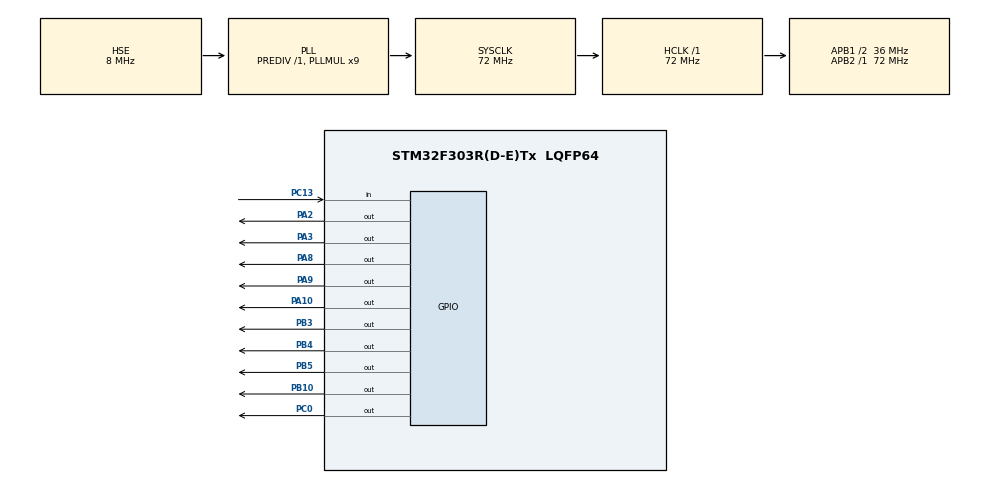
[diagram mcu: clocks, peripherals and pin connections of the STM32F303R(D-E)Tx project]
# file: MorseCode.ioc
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Mcu.Family=STM32F3
Mcu.Name=STM32F303R(D-E)Tx
Mcu.Package=LQFP64
NVIC.PriorityGroup=NVIC_PRIORITYGROUP_4
NVIC.TIM1_CC_IRQn=true\:0\:0\:false\:false\:true\:true\:true\:true
PA10.Signal=GPIO_Output
PA13.Mode=Serial_Wire
PA13.Signal=SYS_JTMS-SWDIO
PA14.Mode=Serial_Wire
PA14.Signal=SYS_JTCK-SWCLK
PA2.Signal=GPIO_Output
PA3.Signal=GPIO_Output
PA8.Signal=GPIO_Output
PA9.Signal=GPIO_Output
PB10.Signal=GPIO_Output
PB3.Signal=GPIO_Output
PB4.Signal=GPIO_Output
PB5.Signal=GPIO_Output
PC0.Signal=GPIO_Output
PC13.GPIO_PuPd=GPIO_PULLDOWN
PC13.Signal=GPIO_Input
PF0-OSC_IN.Mode=HSE-External-Oscillator
PF0-OSC_IN.Signal=RCC_OSC_IN
PF1-OSC_OUT.Mode=HSE-External-Oscillator
PF1-OSC_OUT.Signal=RCC_OSC_OUT
ProjectManager.HeapSize=0x200
ProjectManager.StackSize=0x400
ProjectManager.TargetToolchain=STM32CubeIDE
RCC.AHBFreq_Value=72000000
RCC.APB1CLKDivider=RCC_HCLK_DIV2
RCC.APB1Freq_Value=36000000
RCC.APB1TimFreq_Value=72000000
RCC.APB2Freq_Value=72000000
RCC.APB2TimFreq_Value=72000000
RCC.CortexFreq_Value=72000000
RCC.HCLKFreq_Value=72000000
RCC.HSE_VALUE=8000000
RCC.HSI_VALUE=8000000
RCC.LSE_VALUE=32768
RCC.PLLMUL=RCC_PLL_MUL9
RCC.PLLSourceVirtual=RCC_PLLSOURCE_HSE
RCC.PLLState-ClockTree=RCC_PLL_ON
RCC.SYSCLKFreq_VALUE=72000000
RCC.SYSCLKSourceVirtual=RCC_SYSCLKSOURCE_PLLCLK
RCC.USBFreq_Value=72000000
TIM1.Prescaler=71
VP_TIM1_VS_ClockSourceINT.Mode=Internal
board=custom

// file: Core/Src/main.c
/* USER CODE BEGIN Header */
/**
  ******************************************************************************
  * @file           : main.c
  * @brief          : Main program body
  ******************************************************************************
  * @attention
  *
  * Copyright (c) 2023 STMicroelectronics.
  * All rights reserved.
  *
  * This software is licensed under terms that can be found in the LICENSE file
  * in the root directory of this software component.
  * If no LICENSE file comes with this software, it is provided AS-IS.
  *
  ******************************************************************************
  */
/* USER CODE END Header */
#include "main.h"

/* USER CODE BEGIN Includes */
#include "LCD1602.h"
#include<string.h>
#include<stdio.h>
/* USER CODE END Includes */

TIM_HandleTypeDef htim1;

/* USER CODE BEGIN PV */
int buttonState=0;
char state;
int i=0;
int k=0;
char inp[6];
char temp;
int j=0;
char charArray[4];
int d1,d2,d3;
/* USER CODE END PV */

void SystemClock_Config(void);
static void MX_GPIO_Init(void);
static void MX_TIM1_Init(void);

/* USER CODE BEGIN 0 */
char decodeMorse(char code[]) {
  // Morse code to English alphabet mapping
  if (!strcmp(code,".-")) return 'A';
  else if (!strcmp(code,"-...")) return 'B';
  else if (!strcmp(code,"-.-.")) return 'C';
  else if (!strcmp(code,"-..")) return 'D';
  else if (!strcmp(code,".")) return 'E';
  else if (!strcmp(code,"..-.")) return 'F';
  else if (!strcmp(code,"--.")) return 'G';
  else if (!strcmp(code,"....")) return 'H';
  else if (!strcmp(code,"..")) return 'I';
  else if (!strcmp(code,".---")) return 'J';
  else if (!strcmp(code,"-.-")) return 'K';
  else if (!strcmp(code,".-..")) return 'L';
  else if (!strcmp(code,"--")) return 'M';
  else if (!strcmp(code,"-.")) return 'N';
  else if (!strcmp(code,"---")) return 'O';
  else if (!strcmp(code,".--.")) return 'P';
  else if (!strcmp(code,"--.-")) return 'Q';
  else if (!strcmp(code,".-.")) return 'R';
  else if (!strcmp(code,"...")) return 'S';
  else if (!strcmp(code,"-")) return 'T';
  else if (!strcmp(code,"..-")) return 'U';
  else if (!strcmp(code,"...-")) return 'V';
  else if (!strcmp(code,".--")) return 'W';
  else if (!strcmp(code,"-..-")) return 'X';
  else if (!strcmp(code,"-.--")) return 'Y';
  else if (!strcmp(code,"--..")) return 'Z';
  else if (!strcmp(code,"-----")) return '0';
  else if (!strcmp(code,".----")) return '1';
  else if (!strcmp(code,"..---")) return '2';
  else if (!strcmp(code,"...--")) return '3';
  else if (!strcmp(code,"....-")) return '4';
  else if (!strcmp(code,".....")) return '5';
  else if (!strcmp(code,"-....")) return '6';
  else if (!strcmp(code,"--...")) return '7';
  else if (!strcmp(code,"---..")) return '8';
  else if (!strcmp(code,"----.")) return '9';
  else return ' ';  // Space between words
}

void intToCharArray(int num, char charArray[])
{
    // Extract digits
    int d3 = num % 10;
    int d2 = (num % 100) / 10;
    int d1 = num / 100;

    // Convert digits to characters
    charArray[0] = '0' + d1;
    charArray[1] = '0' + d2;
    charArray[2] = '0' + d3;

    // Null-terminate the array
    charArray[3] = '\0';
}
/* USER CODE END 0 */

int main(void)
{

  /* MCU Configuration--------------------------------------------------------*/

  /* Reset of all peripherals, Initializes the Flash interface and the Systick. */
  HAL_Init();

  /* Configure the system clock */
  SystemClock_Config();

  /* Initialize all configured peripherals */
  MX_GPIO_Init();
  MX_TIM1_Init();
  /* USER CODE BEGIN 2 */
  HAL_TIM_Base_Start(&htim1);

  lcd_init ();
  lcd_put_cur(0, 0);
  i=0;
  memset(inp,'\0',6*sizeof(inp[0]));
  /* USER CODE END 2 */

  /* Infinite loop */
  /* USER CODE BEGIN WHILE */
  while (1)
  {
	  j=0;
	buttonState=HAL_GPIO_ReadPin(GPIOC,GPIO_PIN_13);
	while(!buttonState)
	{
		buttonState=HAL_GPIO_ReadPin(GPIOC,GPIO_PIN_13);
		j++;
		HAL_Delay(1);
	}
	if (j!=0)
	{
		lcd_put_cur(1,13);
		intToCharArray(j, charArray);
		lcd_send_string(charArray);
		if (j<=120)
		{
			state='.';
		}
		else if (j<=250)
		{
			state='-';
		}
		else
		{
			temp=decodeMorse(inp);
			lcd_put_cur(0,k);
			lcd_send_string(&temp);
			k+=1;
			i=-1;
			memset(inp,'\0',6*sizeof(inp[0]));
			temp='\0';
		}
		if (i!=-1){
		lcd_put_cur(1,i);
		lcd_send_string(&state);
		inp[i]=state;
		}
		if (i==-1){
			lcd_put_cur(1,0);
			lcd_send_string("      ");
		}
		i+=1;
	}
    /* USER CODE END WHILE */

  }
}

void SystemClock_Config(void)
{
  RCC_OscInitTypeDef RCC_OscInitStruct = {0};
  RCC_ClkInitTypeDef RCC_ClkInitStruct = {0};
  RCC_PeriphCLKInitTypeDef PeriphClkInit = {0};

  /** Initializes the RCC Oscillators according to the specified parameters
  * in the RCC_OscInitTypeDef structure.
  */
  RCC_OscInitStruct.OscillatorType = RCC_OSCILLATORTYPE_HSE;
  RCC_OscInitStruct.HSEState = RCC_HSE_ON;
  RCC_OscInitStruct.HSIState = RCC_HSI_ON;
  RCC_OscInitStruct.PLL.PLLState = RCC_PLL_ON;
  RCC_OscInitStruct.PLL.PLLSource = RCC_PLLSOURCE_HSE;
  RCC_OscInitStruct.PLL.PLLMUL = RCC_PLL_MUL9;
  RCC_OscInitStruct.PLL.PREDIV = RCC_PREDIV_DIV1;
  if (HAL_RCC_OscConfig(&RCC_OscInitStruct) != HAL_OK)
  {
    Error_Handler();
  }

  /** Initializes the CPU, AHB and APB buses clocks
  */
  RCC_ClkInitStruct.ClockType = RCC_CLOCKTYPE_HCLK|RCC_CLOCKTYPE_SYSCLK
                              |RCC_CLOCKTYPE_PCLK1|RCC_CLOCKTYPE_PCLK2;
  RCC_ClkInitStruct.SYSCLKSource = RCC_SYSCLKSOURCE_PLLCLK;
  RCC_ClkInitStruct.AHBCLKDivider = RCC_SYSCLK_DIV1;
  RCC_ClkInitStruct.APB1CLKDivider = RCC_HCLK_DIV2;
  RCC_ClkInitStruct.APB2CLKDivider = RCC_HCLK_DIV1;

  if (HAL_RCC_ClockConfig(&RCC_ClkInitStruct, FLASH_LATENCY_2) != HAL_OK)
  {
    Error_Handler();
  }
  PeriphClkInit.PeriphClockSelection = RCC_PERIPHCLK_TIM1;
  PeriphClkInit.Tim1ClockSelection = RCC_TIM1CLK_HCLK;
  if (HAL_RCCEx_PeriphCLKConfig(&PeriphClkInit) != HAL_OK)
  {
    Error_Handler();
  }
}

static void MX_TIM1_Init(void)
{

  TIM_ClockConfigTypeDef sClockSourceConfig = {0};
  TIM_MasterConfigTypeDef sMasterConfig = {0};

  htim1.Instance = TIM1;
  htim1.Init.Prescaler = 71;
  htim1.Init.CounterMode = TIM_COUNTERMODE_UP;
  htim1.Init.Period = 65535;
  htim1.Init.ClockDivision = TIM_CLOCKDIVISION_DIV1;
  htim1.Init.RepetitionCounter = 0;
  htim1.Init.AutoReloadPreload = TIM_AUTORELOAD_PRELOAD_DISABLE;
  if (HAL_TIM_Base_Init(&htim1) != HAL_OK)
  {
    Error_Handler();
  }
  sClockSourceConfig.ClockSource = TIM_CLOCKSOURCE_INTERNAL;
  if (HAL_TIM_ConfigClockSource(&htim1, &sClockSourceConfig) != HAL_OK)
  {
    Error_Handler();
  }
  sMasterConfig.MasterOutputTrigger = TIM_TRGO_RESET;
  sMasterConfig.MasterOutputTrigger2 = TIM_TRGO2_RESET;
  sMasterConfig.MasterSlaveMode = TIM_MASTERSLAVEMODE_DISABLE;
  if (HAL_TIMEx_MasterConfigSynchronization(&htim1, &sMasterConfig) != HAL_OK)
  {
    Error_Handler();
  }

}

static void MX_GPIO_Init(void)
{
  GPIO_InitTypeDef GPIO_InitStruct = {0};

  /* GPIO Ports Clock Enable */
  __HAL_RCC_GPIOC_CLK_ENABLE();
  __HAL_RCC_GPIOF_CLK_ENABLE();
  __HAL_RCC_GPIOA_CLK_ENABLE();
  __HAL_RCC_GPIOB_CLK_ENABLE();

  /*Configure GPIO pin Output Level */
  HAL_GPIO_WritePin(GPIOC, GPIO_PIN_0, GPIO_PIN_RESET);

  /*Configure GPIO pin Output Level */
  HAL_GPIO_WritePin(GPIOA, GPIO_PIN_2|GPIO_PIN_3|GPIO_PIN_8|GPIO_PIN_9
                          |GPIO_PIN_10, GPIO_PIN_RESET);

  /*Configure GPIO pin Output Level */
  HAL_GPIO_WritePin(GPIOB, GPIO_PIN_10|GPIO_PIN_3|GPIO_PIN_4|GPIO_PIN_5, GPIO_PIN_RESET);

  /*Configure GPIO pin : PC13 */
  GPIO_InitStruct.Pin = GPIO_PIN_13;
  GPIO_InitStruct.Mode = GPIO_MODE_INPUT;
  GPIO_InitStruct.Pull = GPIO_PULLDOWN;
  HAL_GPIO_Init(GPIOC, &GPIO_InitStruct);

  /*Configure GPIO pin : PC0 */
  GPIO_InitStruct.Pin = GPIO_PIN_0;
  GPIO_InitStruct.Mode = GPIO_MODE_OUTPUT_PP;
  GPIO_InitStruct.Pull = GPIO_NOPULL;
  GPIO_InitStruct.Speed = GPIO_SPEED_FREQ_LOW;
  HAL_GPIO_Init(GPIOC, &GPIO_InitStruct);

  /*Configure GPIO pins : PA2 PA3 PA8 PA9
                           PA10 */
  GPIO_InitStruct.Pin = GPIO_PIN_2|GPIO_PIN_3|GPIO_PIN_8|GPIO_PIN_9
                          |GPIO_PIN_10;
  GPIO_InitStruct.Mode = GPIO_MODE_OUTPUT_PP;
  GPIO_InitStruct.Pull = GPIO_NOPULL;
  GPIO_InitStruct.Speed = GPIO_SPEED_FREQ_LOW;
  HAL_GPIO_Init(GPIOA, &GPIO_InitStruct);

  /*Configure GPIO pins : PB10 PB3 PB4 PB5 */
  GPIO_InitStruct.Pin = GPIO_PIN_10|GPIO_PIN_3|GPIO_PIN_4|GPIO_PIN_5;
  GPIO_InitStruct.Mode = GPIO_MODE_OUTPUT_PP;
  GPIO_InitStruct.Pull = GPIO_NOPULL;
  GPIO_InitStruct.Speed = GPIO_SPEED_FREQ_LOW;
  HAL_GPIO_Init(GPIOB, &GPIO_InitStruct);

}

void Error_Handler(void)
{
  __disable_irq();
  while (1)
  {
  }
}
